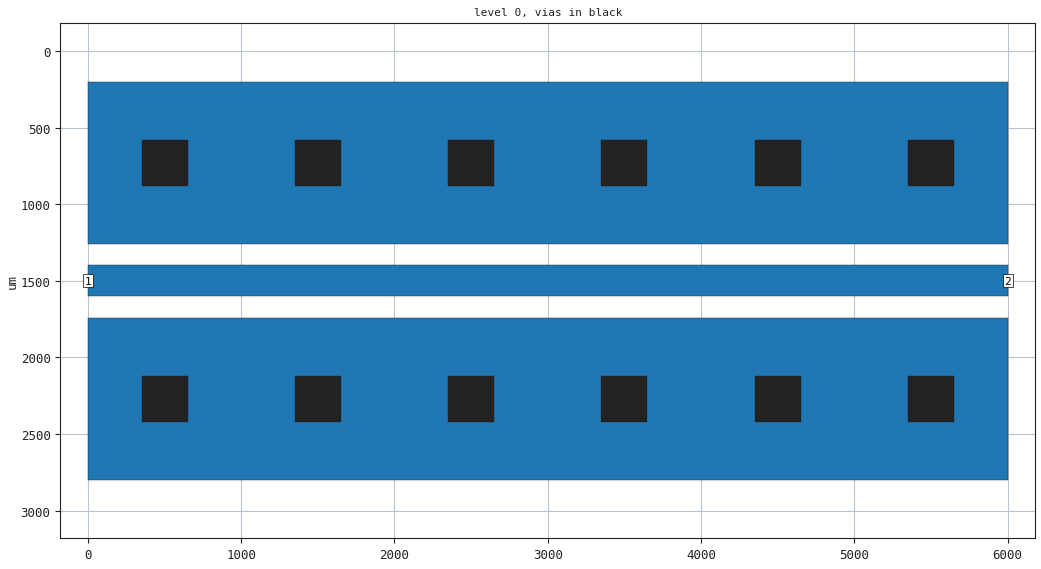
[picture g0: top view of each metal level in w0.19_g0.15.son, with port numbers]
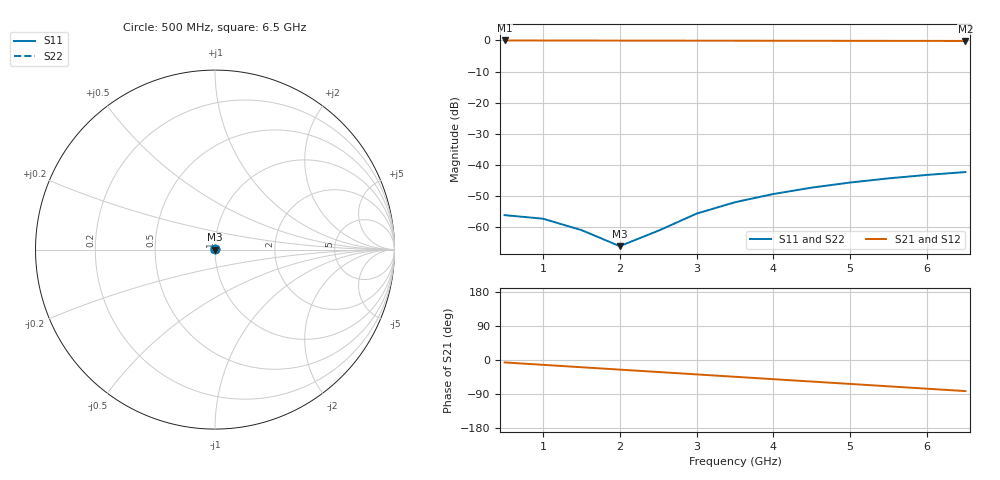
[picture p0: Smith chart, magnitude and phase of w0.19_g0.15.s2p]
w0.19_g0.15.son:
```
FTYP SONPROJ 1 ! Sonnet Project File
VER 19.54
HEADER
END HEADER
DIM
FREQ GHZ
IND NH
LNG UM
ANG DEG
CON /OH
CAP PF
RES OH
END DIM
FREQ
SWEEP 0.5 6.5 0.5
END FREQ
CONTROL
STD
OPTIONS  -d
SPEED 0
END CONTROL
GEO
TMET "Lossless" 0 SUP 0 0 0 0
BMET "Lossless" 0 SUP 0 0 0 0
MET "Cu35" 1 NOR 5.8e7 0 35
BOX 1 6000.0 3000.0 600 300 20 0
      1000.0 1 1 0 0 0 0 "Air"
      99.4 4.1000 1 0.0200 0 0 0 "PP3313"
POR1 STD
POLY 1 1
3
1 50 0 0 0 0.0 1500.0
POR1 STD
POLY 1 1
1
2 50 0 0 0 6000.0 1500.0
NUM 15
0 5 0 N 1 1 1 100 100 0 0 0 Y
0.0 1400.0
6000.0 1400.0
6000.0 1600.0
0.0 1600.0
0.0 1400.0
END
0 5 0 N 2 1 1 100 100 0 0 0 Y
0.0 200.0
6000.0 200.0
6000.0 1260.0
0.0 1260.0
0.0 200.0
END
0 5 0 N 3 1 1 100 100 0 0 0 Y
0.0 1740.0
6000.0 1740.0
6000.0 2800.0
0.0 2800.0
0.0 1740.0
END
VIA POLYGON
0 5 0 V 100 1 1 100 100 0 0 0 Y
TOLEVEL GND RING COVERS
350.0 580.0
650.0 580.0
650.0 880.0
350.0 880.0
350.0 580.0
END
VIA POLYGON
0 5 0 V 101 1 1 100 100 0 0 0 Y
TOLEVEL GND RING COVERS
350.0 2120.0
650.0 2120.0
650.0 2420.0
350.0 2420.0
350.0 2120.0
END
VIA POLYGON
0 5 0 V 102 1 1 100 100 0 0 0 Y
TOLEVEL GND RING COVERS
1350.0 580.0
1650.0 580.0
1650.0 880.0
1350.0 880.0
1350.0 580.0
END
VIA POLYGON
0 5 0 V 103 1 1 100 100 0 0 0 Y
TOLEVEL GND RING COVERS
1350.0 2120.0
1650.0 2120.0
1650.0 2420.0
1350.0 2420.0
1350.0 2120.0
END
VIA POLYGON
0 5 0 V 104 1 1 100 100 0 0 0 Y
TOLEVEL GND RING COVERS
2350.0 580.0
2650.0 580.0
2650.0 880.0
2350.0 880.0
2350.0 580.0
END
VIA POLYGON
0 5 0 V 105 1 1 100 100 0 0 0 Y
TOLEVEL GND RING COVERS
2350.0 2120.0
2650.0 2120.0
2650.0 2420.0
2350.0 2420.0
2350.0 2120.0
END
VIA POLYGON
0 5 0 V 106 1 1 100 100 0 0 0 Y
TOLEVEL GND RING COVERS
3350.0 580.0
3650.0 580.0
3650.0 880.0
3350.0 880.0
3350.0 580.0
END
VIA POLYGON
0 5 0 V 107 1 1 100 100 0 0 0 Y
TOLEVEL GND RING COVERS
3350.0 2120.0
3650.0 2120.0
3650.0 2420.0
3350.0 2420.0
3350.0 2120.0
END
VIA POLYGON
0 5 0 V 108 1 1 100 100 0 0 0 Y
TOLEVEL GND RING COVERS
4350.0 580.0
4650.0 580.0
4650.0 880.0
4350.0 880.0
4350.0 580.0
END
VIA POLYGON
0 5 0 V 109 1 1 100 100 0 0 0 Y
TOLEVEL GND RING COVERS
4350.0 2120.0
4650.0 2120.0
4650.0 2420.0
4350.0 2420.0
4350.0 2120.0
END
VIA POLYGON
0 5 0 V 110 1 1 100 100 0 0 0 Y
TOLEVEL GND RING COVERS
5350.0 580.0
5650.0 580.0
5650.0 880.0
5350.0 880.0
5350.0 580.0
END
VIA POLYGON
0 5 0 V 111 1 1 100 100 0 0 0 Y
TOLEVEL GND RING COVERS
5350.0 2120.0
5650.0 2120.0
5650.0 2420.0
5350.0 2420.0
5350.0 2120.0
END
END GEO
FILEOUT
TS D Y $BASENAME.s2p 15 S RI R 50.00000
END FILEOUT
```
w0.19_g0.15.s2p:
! Sonnet Data File
! From: em Version : 19.54.2026
! From Project: w0.19_g0.15
! Data is De-embedded
! Data File Written: 11/09/2026 23:40:16
!< HDATE 11/09/2026 23:39:24
!< MDATE 11/09/2026 23:39:24
# GHZ S RI R 50.00000
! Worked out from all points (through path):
!   13 points, 500 MHz to 6.5 GHz, reference 50 ohm
!   highest |S21| = -0.03 dB at 500 MHz (marker M1); lowest = -0.2 dB at 6.5 GHz (marker M2)
!   group delay of S21, straight-line fit = 35 ps
!   lowest |S11| = -66.0 dB at 2 GHz (marker M3), VSWR 1.00, Z = 50 - j0.0386 ohm
!   |S11| at or under -10 dB: start of sweep to end of sweep
!   |S22| runs from -66.0 to -42.2 dB; largest |S21 - S12| = 3e-13
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0.5  0.00126 0.000946  0.9907 -0.1113  0.9907 -0.1113  0.00126 0.000946
1  0.00125 0.000584  0.9705 -0.2195  0.9705 -0.2195  0.00125 0.000584
1.5  0.000903 8.88e-05  0.9388 -0.3244  0.9388 -0.3244  0.000903 8.88e-05
2  0.000319 -0.000386  0.896 -0.425  0.896 -0.425  0.000319 -0.000386
2.5  -0.000442 -0.000764  0.8426 -0.5201  0.8426 -0.5201  -0.000442 -0.000764
3  -0.00133 -0.001  0.7793 -0.6086  0.7793 -0.6086  -0.00133 -0.001
3.5  -0.0023 -0.00107  0.7068 -0.6895  0.7068 -0.6895  -0.0023 -0.00107
4  -0.0033 -0.000957  0.626 -0.7618  0.626 -0.7618  -0.0033 -0.000957
5  -0.00525 -0.000172  0.4438 -0.8775  0.4438 -0.8775  -0.00525 -0.000172
6  -0.00684 0.00128  0.2414 -0.9506  0.2414 -0.9506  -0.00684 0.00128
6.5  -0.00741 0.00219  0.1358 -0.97  0.1358 -0.97  -0.00741 0.00219
